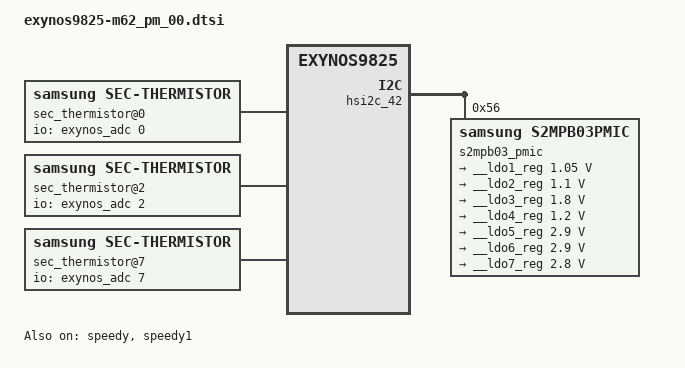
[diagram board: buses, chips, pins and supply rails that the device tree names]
&pinctrl_0 {
	m_pmic_irq: m-pmic-irq {
		samsung,pins = "gpa0-1";
		samsung,pin-pud = <3>;
		samsung,pin-drv = <3>;
	};

	s_pmic_irq: s-pmic-irq {
		samsung,pins = "gpa4-1";
		samsung,pin-pud = <3>;
		samsung,pin-drv = <3>;
	};
};

&speedy {
	#address-cells = <1>;
	#size-cells = <0>;
	status = "okay";
	s2mps19mfd@00 {
		compatible = "samsung,s2mps19mfd";
		acpm-ipc-channel = <2>;
		acpm-speedy-channel = <0>;
		i2c-speedy-address;
		s2mps19,wakeup = "enabled";
		s2mps19,irq-gpio = <&gpa0 1 0>;
		reg = <0x00>;
		interrupts = <1 0 0>;
		interrupt-parent = <&gpa0>;
		pinctrl-names = "default";
		pinctrl-0 = <&m_pmic_irq &smpl_warn>;
		gpios = <&gpp3 4 0>;
		smpl_warn_en = <0>; /* 1 : enable , 0 : disable */
		/* range of smpl_warn_vth */
		/* 0x00 : 2.1V, 0x20 : 2.3V, 0x40 : 2.5V, 0x60 : 2.7V 0x80 : 2.9V */
		/* 0xA0 : 3.1V, 0xC0 : 3.3V, 0xE0 : 3.5V */
		smpl_warn_vth = <0x80>;
		/* LowBat_Hys[4:3] 00(100mV), 01(200mV), 10(300mV), 11(400mV) */
		smpl_warn_hys = <0x00>;
		ocp_warn1_en = <1>; /* 1 : enable, 0 : disable */
		ocp_warn1_cnt = <0>; /* ocp warn reset timing control, 0 : 2 clock, 1 : 32 clock */
		ocp_warn1_dvs_mask = <0>; /* ocp warn mask when dvs, 0 : not masked, 1 : masked  */
		ocp_warn1_lv = <0x0>; /* step : -250mA */
		ocp_warn2_en = <0>; /* 1 : enable, 0 : disable */
		ocp_warn2_cnt = <0>; /* ocp warn reset timing control, 0 : 2 clock, 1 : 32 clock */
		ocp_warn2_dvs_mask = <0>; /* ocp warn mask when dvs, 0 : not masked, 1 : masked  */
		ocp_warn2_lv = <0x0>; /* step : -250mA */
		adc_mode = <1>; /* 0 : disable, 1 : current meter, 2 : power meter */
		adc_sync_mode = <2>; /* 1 : sync mode, 2 : async mode */
		/* RTC: wtsr/smpl */
		wtsr_en = "enabled"; /* enable */
		smpl_en = "enabled"; /* enable */
		wtsr_timer_val = <3>;	/* 1000ms */
		smpl_timer_val = <2>;	/* 300ms */
		sub_smpl_en = "enabled"; /* enable */
		check_jigon = <0>; /* do not check jigon */
		/* RTC: If it's first boot, reset rtc to 1/1/2021 12:00:00(Fri) */
		init_time,sec = <0>;
		init_time,min = <0>;
		init_time,hour = <12>;
		init_time,mday = <1>;
		init_time,mon = <0>;
		init_time,year = <121>;
		init_time,wday = <5>;

		regulators {
			buck1_reg: BUCK1M {
				regulator-name = "m_vdd_buck1";
				regulator-min-microvolt = <450000>;
				regulator-max-microvolt = <1100000>;
				regulator-always-on;
				regulator-ramp-delay = <6000>;
				regulator-initial-mode = <2>;
			};

			buck2_reg: BUCK2M {
				regulator-name = "m_vdd_buck2";
				regulator-min-microvolt = <450000>;
				regulator-max-microvolt = <1300000>;
				regulator-always-on;
				regulator-ramp-delay = <6000>;
				regulator-initial-mode = <2>;
			};

			buck3_reg: BUCK3M {
				regulator-name = "m_vdd_buck3";
				regulator-min-microvolt = <450000>;
				regulator-max-microvolt = <1300000>;
				regulator-always-on;
				regulator-ramp-delay = <6000>;
				regulator-initial-mode = <1>;
			};

			buck4_reg: BUCK4M {
				regulator-name = "m_vdd_buck4";
				regulator-min-microvolt = <450000>;
				regulator-max-microvolt = <1300000>;
				regulator-always-on;
				regulator-ramp-delay = <6000>;
				regulator-initial-mode = <1>;
			};

			buck5_reg: BUCK5M {
				regulator-name = "m_vdd_buck5";
				regulator-min-microvolt = <450000>;
				regulator-max-microvolt = <950000>;
				regulator-always-on;
				regulator-ramp-delay = <6000>;
				regulator-initial-mode = <2>;
			};

			buck6_reg: BUCK6M {
				regulator-name = "m_vdd_buck6";
				regulator-min-microvolt = <450000>;
				regulator-max-microvolt = <1100000>;
				regulator-always-on;
				regulator-ramp-delay = <6000>;
				regulator-initial-mode = <2>;
			};

			buck7_reg: BUCK7M {
				regulator-name = "m_vdd_buck7";
				regulator-min-microvolt = <450000>;
				regulator-max-microvolt = <1300000>;
				regulator-always-on;
				regulator-ramp-delay = <6000>;
				regulator-initial-mode = <2>;
			};

			buck8_reg: BUCK8M {
				regulator-name = "m_vdd_buck8";
				regulator-min-microvolt = <450000>;
				regulator-max-microvolt = <950000>;
				regulator-always-on;
				regulator-ramp-delay = <6000>;
				regulator-initial-mode = <2>;
			};

			buck9_reg: BUCK9M {
				regulator-name = "m_vdd_buck9";
				regulator-min-microvolt = <750000>;
				regulator-max-microvolt = <1150000>;
				regulator-always-on;
				regulator-ramp-delay = <6000>;
				regulator-initial-mode = <3>;
			};

			buck10_reg: BUCK10M {
				regulator-name = "m_vdd_buck10";
				regulator-min-microvolt = <900000>;
				regulator-max-microvolt = <1300000>;
				regulator-always-on;
				regulator-ramp-delay = <6000>;
				regulator-initial-mode = <3>;
			};

			buck11_reg: BUCK11M {
				regulator-name = "m_vdd_buck11";
				regulator-min-microvolt = <1100000>;
				regulator-max-microvolt = <1500000>;
				regulator-always-on;
				regulator-ramp-delay = <6000>;
				regulator-initial-mode = <3>;
			};

			buck12_reg: BUCK12M {
				regulator-name = "m_vdd_buck12";
				regulator-min-microvolt = <1700000>;
				regulator-max-microvolt = <2150000>;
				regulator-always-on;
				regulator-ramp-delay = <6000>;
				regulator-initial-mode = <3>;
			};

			ldo1_reg: LDO1M {
				regulator-name = "m_vdd_ldo1";
				regulator-min-microvolt = <700000>;
				regulator-max-microvolt = <950000>;
				regulator-always-on;
				regulator-ramp-delay = <12000>;
				regulator-initial-mode = <3>;
			};

			ldo2_reg: LDO2M {
				regulator-name = "vqmmc";
				regulator-min-microvolt = <1700000>;
				regulator-max-microvolt = <3000000>;
				regulator-ramp-delay = <12000>;
				regulator-initial-mode = <3>;
			};

			ldo3_reg: LDO3M {
				regulator-name = "m_vdd_ldo3";
				regulator-min-microvolt = <700000>;
				regulator-max-microvolt = <1100000>;
				regulator-always-on;
				regulator-ramp-delay = <12000>;
				regulator-initial-mode = <1>;
			};

			ldo4_reg: LDO4M {
				regulator-name = "m_vdd_ldo4";
				regulator-min-microvolt = <1600000>;
				regulator-max-microvolt = <1950000>;
				regulator-always-on;
				regulator-ramp-delay = <12000>;
				regulator-initial-mode = <1>;
			};

			ldo5_reg: LDO5M {
				regulator-name = "m_vdd_ldo5";
				regulator-min-microvolt = <450000>;
				regulator-max-microvolt = <1100000>;
				regulator-always-on;
				regulator-ramp-delay = <12000>;
				regulator-initial-mode = <1>;
			};

			ldo6_reg: LDO6M {
				regulator-name = "m_vdd_ldo6";
				regulator-min-microvolt = <450000>;
				regulator-max-microvolt = <950000>;
				regulator-always-on;
				regulator-ramp-delay = <12000>;
				regulator-initial-mode = <1>;
			};

			ldo7_reg: LDO7M {
				regulator-name = "m_vdd_ldo7";
				regulator-min-microvolt = <450000>;
				regulator-max-microvolt = <1100000>;
				regulator-always-on;
				regulator-ramp-delay = <12000>;
				regulator-initial-mode = <1>;
			};

			ldo8_reg: LDO8M {
				regulator-name = "m_vdd_ldo8";
				regulator-min-microvolt = <450000>;
				regulator-max-microvolt = <1300000>;
				regulator-always-on;
				regulator-ramp-delay = <12000>;
				regulator-initial-mode = <1>;
			};

			ldo9_reg: LDO9M {
				regulator-name = "m_vdd_ldo9";
				regulator-min-microvolt = <700000>;
				regulator-max-microvolt = <1300000>;
				regulator-always-on;
				regulator-ramp-delay = <12000>;
				regulator-initial-mode = <1>;
			};

			ldo10_reg: LDO10M {
				regulator-name = "m_vdd_ldo10";
				regulator-min-microvolt = <700000>;
				regulator-max-microvolt = <1100000>;
				regulator-boot-on;
				regulator-ramp-delay = <12000>;
				regulator-initial-mode = <3>;
			};

			ldo11_reg: LDO11M {
				regulator-name = "m_vdd_ldo11";
				regulator-min-microvolt = <1600000>;
				regulator-max-microvolt = <1950000>;
				regulator-boot-on;
				regulator-ramp-delay = <12000>;
				regulator-initial-mode = <3>;
			};

			ldo12_reg: LDO12M {
				regulator-name = "m_vdd_ldo12";
				regulator-min-microvolt = <1700000>;
				regulator-max-microvolt = <3350000>;
				regulator-boot-on;
				regulator-ramp-delay = <12000>;
				regulator-initial-mode = <3>;
			};

			ldo15_reg: LDO15M {
				regulator-name = "vmmc";
				regulator-min-microvolt = <2500000>;
				regulator-max-microvolt = <3000000>;
				regulator-ramp-delay = <12000>;
				regulator-initial-mode = <3>;
			};

			ldo16_reg: LDO16M {
				regulator-name = "m_vdd_ldo16";
				regulator-min-microvolt = <2500000>;
				regulator-max-microvolt = <3300000>;
				regulator-always-on;
				regulator-ramp-delay = <12000>;
				regulator-initial-mode = <3>;
			};

			ldo17_reg: LDO17M {
				regulator-name = "vdd_pmic_codec_1p8";
				regulator-min-microvolt = <1800000>;
				regulator-max-microvolt = <1800000>;
				regulator-always-on;
				regulator-initial-mode = <3>;
				regulator-boot-on;
			};

			ldo18_reg: LDO18M {
				regulator-name = "vdd_codec_1p2";
				regulator-min-microvolt = <1200000>;
				regulator-max-microvolt = <1200000>;
				regulator-ramp-delay = <12000>;
				regulator-enable-ramp-delay = <5000>;
				regulator-initial-mode = <3>;
			};

			ldo21_reg: LDO21M {
				regulator-name = "m_vdd_ldo21";
				regulator-min-microvolt = <1600000>;
				regulator-max-microvolt = <2200000>;
				regulator-always-on;
				regulator-ramp-delay = <12000>;
				regulator-initial-mode = <3>;
			};

			ldo22_reg: LDO22M {
				regulator-name = "nfc_pvdd";
				regulator-min-microvolt = <1800000>;
				regulator-max-microvolt = <1800000>;
				regulator-ramp-delay = <12000>;
				regulator-initial-mode = <3>;
			};

			ldo23_reg: LDO23M {
				regulator-name = "m_vdd_ldo23";
				regulator-min-microvolt = <1050000>;
				regulator-max-microvolt = <1050000>;
				regulator-ramp-delay = <12000>;
				regulator-initial-mode = <3>;
			};

			ldo24_reg: LDO24M {
				regulator-name = "grip_vdd_ldo";
				regulator-min-microvolt = <3300000>;
				regulator-max-microvolt = <3300000>;
				regulator-ramp-delay = <12000>;
				regulator-initial-mode = <3>;
			};

			ldo26_reg: LDO26M {
				regulator-name = "m_vdd_ldo26";
				regulator-min-microvolt = <1600000>;
				regulator-max-microvolt = <2200000>;
				regulator-boot-on;
				regulator-ramp-delay = <12000>;
				regulator-initial-mode = <3>;
			};

			ldo27_reg: LDO27M {
				regulator-name = "VDD_MOTOR_3P3";
				regulator-min-microvolt = <3300000>;
				regulator-max-microvolt = <3300000>;
				regulator-ramp-delay = <12000>;
				regulator-initial-mode = <3>;
			};

			ldo28_reg: LDO28M {
				regulator-name = "m_vdd_ldo28";
				regulator-min-microvolt = <1600000>;
				regulator-max-microvolt = <2200000>;
				regulator-always-on;
				regulator-ramp-delay = <12000>;
				regulator-initial-mode = <3>;
			};

			ldo29_reg: LDO29M {
				regulator-name = "vdd-fm-2p8";
				regulator-min-microvolt = <2800000>;
				regulator-max-microvolt = <2800000>;
				regulator-always-on;
				regulator-ramp-delay = <12000>;
				regulator-initial-mode = <3>;
			};
		};
	};
};

&speedy1 {
	#address-cells = <1>;
	#size-cells = <0>;
	status = "okay";
	s2mps20mfd@00 {
		compatible = "samsung,s2mps20mfd";
		acpm-ipc-channel = <2>;
		acpm-speedy-channel = <1>;
		i2c-speedy-address;
		s2mps20,wakeup = "enabled";
		s2mps20,irq-gpio = <&gpa4 1 0>;
		reg = <0x00>;
		interrupts = <1 0 0>;
		interrupt-parent = <&gpa4>;
		pinctrl-names = "default";
		pinctrl-0 = <&s_pmic_irq>;
		adc_mode = <1>; /* 0 : disable, 1 : current meter, 2 : power meter */
		adc_sync_mode = <2>; /* 1 : sync mode, 2 : async mode */
		ocp_warn3_en = <0>; /* 1 : enable, 0 : disable */
		ocp_warn3_cnt = <0>; /* ocp warn reset timing control, 0 : 2 clock, 1 : 32 clock */
		ocp_warn3_dvs_mask = <0>; /* ocp warn mask when dvs, 0 : not masked, 1 : masked  */
		ocp_warn3_lv = <0x0>; /* step : -250mA */
		buck1s_pwm = <1>; /* 1 : BUCK1S PWM mode, 0 or Not defined : not configured */

		regulators {
			s_buck1_reg: BUCK1S {
				regulator-name = "s_vdd_buck1";
				regulator-min-microvolt = <450000>;
				regulator-max-microvolt = <950000>;
				regulator-always-on;
				regulator-ramp-delay = <6000>;
				regulator-initial-mode = <2>;
			};

			s_buck2_reg: BUCK2S {
				regulator-name = "s_vdd_buck2";
				regulator-min-microvolt = <900000>;
				regulator-max-microvolt = <1300000>;
				regulator-always-on;
				regulator-ramp-delay = <6000>;
				regulator-initial-mode = <3>;
			};

			s_ldo1_reg: LDO1S {
				regulator-name = "s_vdd_ldo1";
				regulator-min-microvolt = <450000>;
				regulator-max-microvolt = <950000>;
				regulator-always-on;
				regulator-ramp-delay = <12000>;
				regulator-initial-mode = <1>;
			};

			s_ldo2_reg: LDO2S {
				regulator-name = "s_vdd_ldo2";
				regulator-min-microvolt = <1600000>;
				regulator-max-microvolt = <1950000>;
				regulator-always-on;
				regulator-ramp-delay = <12000>;
				regulator-initial-mode = <3>;
			};

			s_ldo7_reg: LDO7S {
				regulator-name = "s_vdd_ldo7";
				regulator-min-microvolt = <1600000>;
				regulator-max-microvolt = <1950000>;
				regulator-always-on;
				regulator-ramp-delay = <12000>;
				regulator-initial-mode = <3>;
			};

			s_ldo8_reg: LDO8S {
				regulator-name = "s_vdd_ldo8";
				regulator-min-microvolt = <700000>;
				regulator-max-microvolt = <1100000>;
				regulator-always-on;
				regulator-ramp-delay = <12000>;
				regulator-initial-mode = <3>;
			};

			s_ldo9_reg: LDO9S {
				regulator-name = "s_vdd_ldo9";
				regulator-min-microvolt = <700000>;
				regulator-max-microvolt = <1100000>;
				regulator-always-on;
				regulator-ramp-delay = <12000>;
				regulator-initial-mode = <3>;
			};

			s_ldo10_reg: LDO10S {
				regulator-name = "s_vdd_ldo10";
				regulator-min-microvolt = <1600000>;
				regulator-max-microvolt = <1950000>;
				regulator-always-on;
				regulator-ramp-delay = <12000>;
				regulator-initial-mode = <3>;
			};

			s_ldo11_reg: LDO11S {
				regulator-name = "s_vdd_ldo11";
				regulator-min-microvolt = <1600000>;
				regulator-max-microvolt = <1950000>;
				regulator-always-on;
				regulator-ramp-delay = <12000>;
				regulator-initial-mode = <3>;
			};

			s_ldo12_reg: LDO12S {
				regulator-name = "s_vdd_ldo12";
				regulator-min-microvolt = <1700000>;
				regulator-max-microvolt = <3350000>;
				regulator-always-on;
				regulator-ramp-delay = <12000>;
				regulator-initial-mode = <3>;
			};
		};
	};
};

&hsi2c_42 {
	#address-cells = <1>;
	#size-cells = <0>;
	status = "okay";
	s2mpb03_pmic@56 {
		compatible = "samsung,s2mpb03pmic";
		reg = <0x56>;

		s2mpb03,wakeup;

		regulators {
			__ldo1_reg: s2mpb03-ldo1 {
				regulator-name = "VDDD_1.05V_VT";
				regulator-min-microvolt = <1050000>;
				regulator-max-microvolt = <1050000>;
			};
			__ldo2_reg: s2mpb03-ldo2 {
				regulator-name = "VDDD_1.1V_CAM";
				regulator-min-microvolt = <1100000>;
				regulator-max-microvolt = <1100000>;
			};
			__ldo3_reg: s2mpb03-ldo3 {
				regulator-name = "VDDIO_1.8V_CAM";
				regulator-min-microvolt = <1800000>;
				regulator-max-microvolt = <1800000>;
			};
			__ldo4_reg: s2mpb03-ldo4 {
				regulator-name = "VDDD_1.2V_SUB_MACRO";
				regulator-min-microvolt = <1200000>;
				regulator-max-microvolt = <1200000>;
			};
			__ldo5_reg: s2mpb03-ldo5 {
				regulator-name = "VDDA_2.9V_CAM";
				regulator-min-microvolt = <2900000>;
				regulator-max-microvolt = <2900000>;
			};
			__ldo6_reg: s2mpb03-ldo6 {
				regulator-name = "VDDA_2.9V_VT";
				regulator-min-microvolt = <2900000>;
				regulator-max-microvolt = <2900000>;
			};
			__ldo7_reg: s2mpb03-ldo7 {
				regulator-name = "VDD_2.8V_AF";
				regulator-min-microvolt = <2800000>;
				regulator-max-microvolt = <2800000>;
			};
		};
	};
};

/ {
	fragment@model {
		target-path = "/";
		__overlay__ {
			sec_thermistor@0 {
				compatible = "samsung,sec-thermistor";
				status = "okay";
				thermistor_name = "sec-ap-thermistor";
				id = <0>;

				adc_array = <275 324 380 450 528 619 729 856 1003 1161
					  1345 1545 1766 1980 2222 2457 2685 2901 3102 3279
					  3426 3551 3659>;
				temp_array = <900 850 800 750 700 650 600 550 500 450
					  400 350 300 250 200 150 100 50 0 (-50)
					  (-100) (-150) (-200)>;

				io-channels = <&exynos_adc 0>;
				io-channel-names = "adc-ap-temp";
				io-channel-ranges;
			};

			sec_thermistor@2 {
				compatible = "samsung,sec-thermistor";
				status = "okay";
				thermistor_name = "sec-wf-thermistor";
				id = <1>;

				adc_array = <275 324 380 450 528 619 729 856 1003 1161
					  1345 1545 1766 1980 2222 2457 2685 2901 3102 3279
					  3426 3551 3659>;
				temp_array = <900 850 800 750 700 650 600 550 500 450
					  400 350 300 250 200 150 100 50 0 (-50)
					  (-100) (-150) (-200)>;

				io-channels = <&exynos_adc 2>;
				io-channel-names = "adc-wf-temp";
				io-channel-ranges;
			};

			sec_thermistor@7 {
				compatible = "samsung,sec-thermistor";
				status = "okay";
				thermistor_name = "sec-pa-thermistor";
				id = <2>;

				adc_array = <327 347 367 388 410 433 456 482 507 534
					562 591 621 651 684 717 750 786 821 858
					896 935 975 1016 1057 1100 1143 1187 1231 1277
					1323 1369 1416 1463 1511 1559 1608 1657 1706 1755
					1804 1853 1902 1951 2000 2048 2096 2144 2192 2239
					2285 2332 2378 2421 2467 2510 2553 2596 2637 2678
					2719 2758 2797 2833 2872 2906 2942 2976 3011 3042
					3074 3106 3136 3165 3195 3222 3249 3277 3302 3327
					3352 3375 3397 3420 3441 3461 3482 3502 3520 3538
					3557 3573 3591 3607 3620 3636 3650 3666 3680 3691
					3705 3716 3730 3741 3752 3761 3773 3782 3793 3802
					3812>;

				temp_array =
					<(-200) (-190) (-180) (-170) (-160) (-150) (-140) (-130) (-120) (-110)
					(-100) (-90) (-80) (-70) (-60) (-50) (-40) (-30) (-20) (-10)
					0 10 20 30 40 50 60 70 80 90
					100 110 120 130 140 150 160 170 180 190
					200 210 220 230 240 250 260 270 280 290
					300 310 320 330 340 350 360 370 380 390
					400 410 420 430 440 450 460 470 480 490
					500 510 520 530 540 550 560 570 580 590
					600 610 620 630 640 650 660 670 680 690
					700 710 720 730 740 750 760 770 780 790
					800 810 820 830 840 850 860 870 880 890
					900>;

				io-channels = <&exynos_adc 7>;
				io-channel-names = "adc-pa-temp";
				io-channel-ranges;
			};

			exynos_pm_dvs {
				compatible = "samsung,exynos-pm-dvs";
				vdd_lldo1 {
					regulator_name = "m_vdd_buck9";
					suspend_volt = <800000>;
					init_volt = <850000>;
					volt_range_step = <62500>;
				};

				vdd_lldo2 {
					regulator_name = "m_vdd_buck10";
					suspend_volt = <1050000>;
					init_volt = <1100000>;
					volt_range_step = <62500>;
				};

				vdd_lldo3 {
					regulator_name = "m_vdd_buck11";
					suspend_volt = <1250000>;
					init_volt = <1300000>;
					volt_range_step = <62500>;
				};
				vdd_mldo {
					regulator_name = "m_vdd_buck12";
					suspend_volt = <1875000>;
					init_volt = <2000000>;
					volt_range_step = <12500>;
				};
			};

			secgpio_dvs {
				compatible = "samsung,exynos9820-secgpio-dvs";
				status = "okay";
			};
		}; /* end of __overlay__ */
	}; /* end of fragment */
}; /* end of root */
